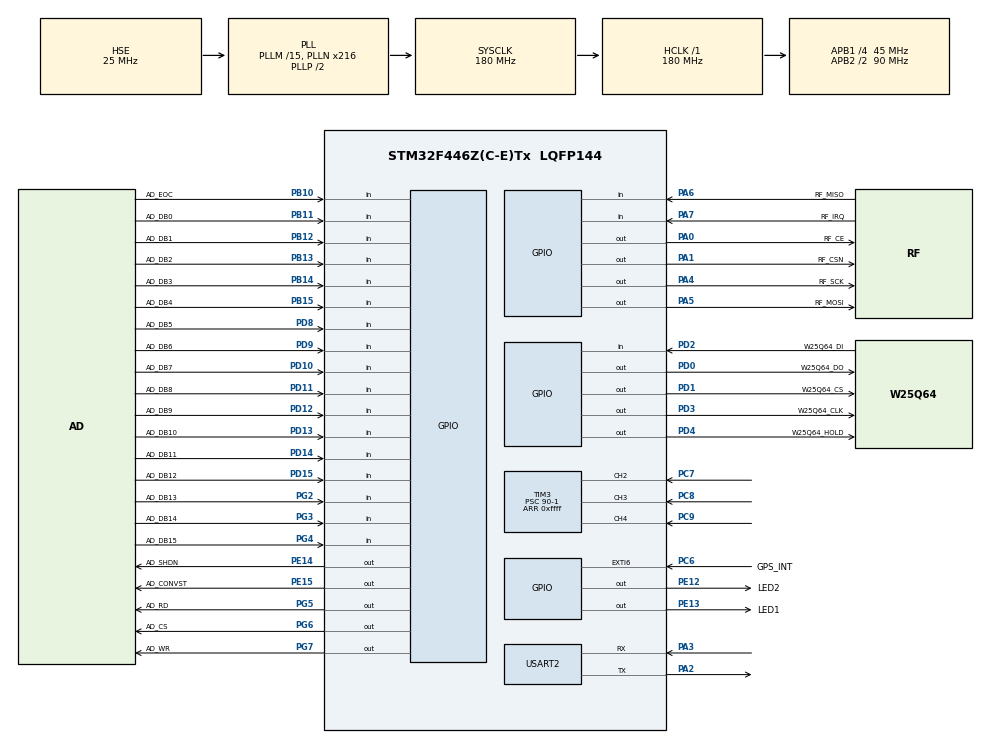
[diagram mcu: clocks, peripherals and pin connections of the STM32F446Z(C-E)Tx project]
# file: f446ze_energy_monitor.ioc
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FREERTOS.Tasks01=defaultTask,0,128,StartDefaultTask,Default,NULL
Mcu.Family=STM32F4
Mcu.Name=STM32F446Z(C-E)Tx
Mcu.Package=LQFP144
NVIC.PriorityGroup=NVIC_PRIORITYGROUP_4
NVIC.TIM3_IRQn=true\:5\:0\:false\:false\:true\:true\:true
NVIC.TIM4_IRQn=true\:6\:0\:true\:false\:true\:true\:true
NVIC.TIM8_TRG_COM_TIM14_IRQn=true\:0\:0\:false\:false\:true\:false\:false
NVIC.TimeBase=TIM8_TRG_COM_TIM14_IRQn
NVIC.TimeBaseIP=TIM14
PA0-WKUP.GPIO_Label=RF_CE
PA0-WKUP.Signal=GPIO_Output
PA1.GPIO_Label=RF_CSN
PA1.Signal=GPIO_Output
PA13.Mode=Serial_Wire
PA13.Signal=SYS_JTMS-SWDIO
PA14.Mode=Serial_Wire
PA14.Signal=SYS_JTCK-SWCLK
PA2.Mode=Asynchronous
PA2.Signal=USART2_TX
PA3.Mode=Asynchronous
PA3.Signal=USART2_RX
PA4.GPIO_Label=RF_SCK
PA4.Signal=GPIO_Output
PA5.GPIO_Label=RF_MOSI
PA5.Signal=GPIO_Output
PA6.GPIO_Label=RF_MISO
PA6.Signal=GPIO_Input
PA7.GPIO_Label=RF_IRQ
PA7.Signal=GPIO_Input
PB10.GPIO_Label=AD_EOC
PB10.Signal=GPIO_Input
PB11.GPIO_Label=AD_DB0
PB11.Signal=GPIO_Input
PB12.GPIO_Label=AD_DB1
PB12.Signal=GPIO_Input
PB13.GPIO_Label=AD_DB2
PB13.Signal=GPIO_Input
PB14.GPIO_Label=AD_DB3
PB14.Signal=GPIO_Input
PB15.GPIO_Label=AD_DB4
PB15.Signal=GPIO_Input
PC6.GPIO_Label=GPS_INT
PC6.Signal=GPXTI6
PC7.Signal=S_TIM3_CH2
PC8.Signal=S_TIM3_CH3
PC9.Signal=S_TIM3_CH4
PD0.GPIO_Label=W25Q64_DO
PD0.Signal=GPIO_Output
PD1.GPIO_Label=W25Q64_CS
PD1.Signal=GPIO_Output
PD10.GPIO_Label=AD_DB7
PD10.Signal=GPIO_Input
PD11.GPIO_Label=AD_DB8
PD11.Signal=GPIO_Input
PD12.GPIO_Label=AD_DB9
PD12.Signal=GPIO_Input
PD13.GPIO_Label=AD_DB10
PD13.Signal=GPIO_Input
PD14.GPIO_Label=AD_DB11
PD14.Signal=GPIO_Input
PD15.GPIO_Label=AD_DB12
PD15.Signal=GPIO_Input
PD2.GPIO_Label=W25Q64_DI
PD2.Signal=GPIO_Input
PD3.GPIO_Label=W25Q64_CLK
PD3.Signal=GPIO_Output
PD4.GPIO_Label=W25Q64_HOLD
PD4.Signal=GPIO_Output
PD8.GPIO_Label=AD_DB5
PD8.Signal=GPIO_Input
PD9.GPIO_Label=AD_DB6
PD9.Signal=GPIO_Input
PE12.GPIO_Label=LED2
PE12.Signal=GPIO_Output
PE13.GPIO_Label=LED1
PE13.Signal=GPIO_Output
PE14.GPIO_Label=AD_SHDN
PE14.Signal=GPIO_Output
PE15.GPIO_Label=AD_CONVST
PE15.Signal=GPIO_Output
PG2.GPIO_Label=AD_DB13
PG2.Signal=GPIO_Input
PG3.GPIO_Label=AD_DB14
PG3.Signal=GPIO_Input
PG4.GPIO_Label=AD_DB15
PG4.Signal=GPIO_Input
PG5.GPIO_Label=AD_RD
PG5.Signal=GPIO_Output
PG6.GPIO_Label=AD_CS
PG6.Signal=GPIO_Output
PG7.GPIO_Label=AD_WR
PG7.Signal=GPIO_Output
PH0-OSC_IN.Mode=HSE-External-Oscillator
PH0-OSC_IN.Signal=RCC_OSC_IN
PH1-OSC_OUT.Mode=HSE-External-Oscillator
PH1-OSC_OUT.Signal=RCC_OSC_OUT
ProjectManager.HeapSize=0x200
ProjectManager.StackSize=0x400
ProjectManager.TargetToolchain=MDK-ARM V5
RCC.AHBFreq_Value=180000000
RCC.APB1CLKDivider=RCC_HCLK_DIV4
RCC.APB1Freq_Value=45000000
RCC.APB1TimFreq_Value=90000000
RCC.APB2CLKDivider=RCC_HCLK_DIV2
RCC.APB2Freq_Value=90000000
RCC.APB2TimFreq_Value=180000000
RCC.CortexFreq_Value=180000000
RCC.HCLKFreq_Value=180000000
RCC.PLLM=15
RCC.PLLN=216
RCC.PLLSourceVirtual=RCC_PLLSOURCE_HSE
RCC.SYSCLKFreq_VALUE=180000000
RCC.SYSCLKSource=RCC_SYSCLKSOURCE_PLLCLK
RCC.USBFreq_Value=180000000
RCC.VCOOutputFreq_Value=360000000
SH.S_TIM3_CH2.0=TIM3_CH2,Input_Capture2_from_TI2
SH.S_TIM3_CH3.0=TIM3_CH3,Input_Capture3_from_TI3
SH.S_TIM3_CH4.0=TIM3_CH4,Input_Capture4_from_TI4
TIM3.Channel-Input_Capture2_from_TI2=TIM_CHANNEL_2
TIM3.Channel-Input_Capture3_from_TI3=TIM_CHANNEL_3
TIM3.Channel-Input_Capture4_from_TI4=TIM_CHANNEL_4
TIM3.Period=0xffff
TIM3.Prescaler=90-1
TIM4.Period=14062-1
USART2.VirtualMode=VM_ASYNC
VP_FREERTOS_VS_ENABLE.Mode=Enabled
VP_SYS_VS_tim14.Mode=TIM14
VP_TIM3_VS_ClockSourceINT.Mode=Internal
VP_TIM4_VS_ClockSourceINT.Mode=Internal
board=custom

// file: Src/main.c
/**
  ******************************************************************************
  * @file           : main.c
  * @brief          : Main program body
  ******************************************************************************
  * This notice applies to any and all portions of this file
  * that are not between comment pairs USER CODE BEGIN and
  * USER CODE END. Other portions of this file, whether
  * inserted by the user or by software development tools
  * are owned by their respective copyright owners.
  *
  * Copyright (c) 2018 STMicroelectronics International N.V.
  * All rights reserved.
  *
  * Redistribution and use in source and binary forms, with or without
  * modification, are permitted, provided that the following conditions are met:
  *
  * 1. Redistribution of source code must retain the above copyright notice,
  *    this list of conditions and the following disclaimer.
  * 2. Redistributions in binary form must reproduce the above copyright notice,
  *    this list of conditions and the following disclaimer in the documentation
  *    and/or other materials provided with the distribution.
  * 3. Neither the name of STMicroelectronics nor the names of other
  *    contributors to this software may be used to endorse or promote products
  *    derived from this software without specific written permission.
  * 4. This software, including modifications and/or derivative works of this
  *    software, must execute solely and exclusively on microcontroller or
  *    microprocessor devices manufactured by or for STMicroelectronics.
  * 5. Redistribution and use of this software other than as permitted under
  *    this license is void and will automatically terminate your rights under
  *    this license.
  *
  * THIS SOFTWARE IS PROVIDED BY STMICROELECTRONICS AND CONTRIBUTORS "AS IS"
  * AND ANY EXPRESS, IMPLIED OR STATUTORY WARRANTIES, INCLUDING, BUT NOT
  * LIMITED TO, THE IMPLIED WARRANTIES OF MERCHANTABILITY, FITNESS FOR A
  * PARTICULAR PURPOSE AND NON-INFRINGEMENT OF THIRD PARTY INTELLECTUAL PROPERTY
  * RIGHTS ARE DISCLAIMED TO THE FULLEST EXTENT PERMITTED BY LAW. IN NO EVENT
  * SHALL STMICROELECTRONICS OR CONTRIBUTORS BE LIABLE FOR ANY DIRECT, INDIRECT,
  * INCIDENTAL, SPECIAL, EXEMPLARY, OR CONSEQUENTIAL DAMAGES (INCLUDING, BUT NOT
  * LIMITED TO, PROCUREMENT OF SUBSTITUTE GOODS OR SERVICES; LOSS OF USE, DATA,
  * OR PROFITS; OR BUSINESS INTERRUPTION) HOWEVER CAUSED AND ON ANY THEORY OF
  * LIABILITY, WHETHER IN CONTRACT, STRICT LIABILITY, OR TORT (INCLUDING
  * NEGLIGENCE OR OTHERWISE) ARISING IN ANY WAY OUT OF THE USE OF THIS SOFTWARE,
  * EVEN IF ADVISED OF THE POSSIBILITY OF SUCH DAMAGE.
  *
  ******************************************************************************
  */
#include "main.h"
#include "stm32f4xx_hal.h"
#include "cmsis_os.h"
#include "tim.h"
#include "usart.h"
#include "gpio.h"

/* USER CODE BEGIN Includes */
#include "freq_cap.h"
#include "power_quality.h"
#include "max11046.h"
#include "util.h"
#include "flash_internal.h"
/* USER CODE END Includes */

/* USER CODE BEGIN PV */
/* Private variables ---------------------------------------------------------*/

// #define __SORT_TEST__
#ifdef __SORT_TEST__
  #include "alg_findextrema.h"
  #include "alg_sort.h"
  float test_arr[512] = {0.1, 0.2, 0.3, 0.74, 0.53, 0.12, 0.7, 0.8};
  float test_arr_max_min[2] = {0};
#endif
#ifdef __UTIL_TEST__  /* util.c test */
  volatile uint16_t tmp_ = 0x1234;
  volatile uint32_t tmp_32 = 0x12345678;
  volatile uint64_t tmp_64 = 0x123456789abcdeff;
  volatile void* ptmp_ = NULL;
  volatile uint32_t* ptmp_32 = NULL;
  volatile uint64_t* ptmp_64 = NULL;
  volatile uint16_t* ptmp_16 = NULL;
#endif  /* util.c test */
// #define __FLASH_TEST__
#ifdef __FLASH_TEST__  /* flash_internal.c test */
  volatile uint16_t err_flg = 0x00;
  extern uint16_t ad_wav[2][3][1280]; // 1 second, 75KB
#endif  /* flash_internal.c test */
// #define __TEST_FLICKER__
#ifdef __TEST_FLICKER__
  extern uint8_t AD_save_flag;
  extern uint16_t AD_Data_A_0[128];  //C
  extern uint16_t AD_Data_A_1[128];  //C
  extern uint16_t AD_Data_B_0[128];  //B
  extern uint16_t AD_Data_B_1[128];  //B
  extern uint16_t AD_Data_C_0[128];  //A
  extern uint16_t AD_Data_C_1[128];  //A
#endif
/* USER CODE END PV */

void SystemClock_Config(void);
void MX_FREERTOS_Init(void);

/* USER CODE BEGIN PFP */
/* Private function prototypes -----------------------------------------------*/

/* USER CODE END PFP */

int main(void)
{

  /* MCU Configuration----------------------------------------------------------*/

  /* Reset of all peripherals, Initializes the Flash interface and the Systick. */
  HAL_Init();

  /* Configure the system clock */
  SystemClock_Config();

  /* Initialize all configured peripherals */
  MX_GPIO_Init();
  MX_TIM3_Init();
  MX_USART2_UART_Init();
  MX_TIM4_Init();
  /* USER CODE BEGIN 2 */
  AD_IO_INIT();
  Configuration_AD_register();
  HAL_Delay(10);
  // start capture
  HAL_TIM_Base_Start_IT(&htim3);
  HAL_TIM_Base_Start_IT(&htim4);
  HAL_TIM_IC_Start_IT(&htim3, TIM_CHANNEL_4);
  HAL_TIM_IC_Start_IT(&htim3, TIM_CHANNEL_3);
  HAL_TIM_IC_Start_IT(&htim3, TIM_CHANNEL_2);
  #ifdef __SORT_TEST__
    bubble_sort_f32(test_arr, 512);
    __nop();
    findmax_min_f32(test_arr, 512, test_arr_max_min);
    __nop();
  #endif
  #ifdef __FLASH_TEST__ /* flash_internal.c test */
    flash_erase(7); /* erase sector 7 */
    ad_wav[0][0][0] = 0x01;
    ad_wav[0][1][0] = 0x01;
    ad_wav[0][2][0] = 0x01;
    err_flg = flash_write((uint16_t*)ad_wav[0], 7, 19200);
  #endif /* flash_internal.c test */

  /* USER CODE END 2 */

  /* Call init function for freertos objects (in freertos.c) */
  MX_FREERTOS_Init();

  /* Start scheduler */
  osKernelStart();

  /* We should never get here as control is now taken by the scheduler */

  /* Infinite loop */
  while (1)
  {

  /* USER CODE BEGIN 3 */

    #ifdef __UTIL_TEST__ /* util.c test */
      ptmp_ = endian_exchange(tmp_, 2);
      tmp_ = *(uint16_t*)ptmp_;
      ptmp_32 = endian_exchange(tmp_32, 4);
      tmp_32 = *(uint32_t*)ptmp_32;
      ptmp_64 = endian_exchange(tmp_64, 8);
      tmp_64 = *(uint64_t*)ptmp_64;
    __nop();
    #endif /* util.c test */
    #ifdef __TEST_FLICKER__
      if (0x01 == AD_save_flag)
      Voltage_RMS_Calc(AD_Data_A_0, AD_Data_B_0, AD_Data_C_0);
      if (0x00 == AD_save_flag)
          Voltage_RMS_Calc(AD_Data_A_1, AD_Data_B_1, AD_Data_C_1);
      data_process();
      // osDelay(20);
    #endif
  }
  /* USER CODE END 3 */

}

void SystemClock_Config(void)
{

  RCC_OscInitTypeDef RCC_OscInitStruct;
  RCC_ClkInitTypeDef RCC_ClkInitStruct;

    /**Configure the main internal regulator output voltage
    */
  __HAL_RCC_PWR_CLK_ENABLE();

  __HAL_PWR_VOLTAGESCALING_CONFIG(PWR_REGULATOR_VOLTAGE_SCALE1);

    /**Initializes the CPU, AHB and APB busses clocks
    */
  RCC_OscInitStruct.OscillatorType = RCC_OSCILLATORTYPE_HSE;
  RCC_OscInitStruct.HSEState = RCC_HSE_ON;
  RCC_OscInitStruct.PLL.PLLState = RCC_PLL_ON;
  RCC_OscInitStruct.PLL.PLLSource = RCC_PLLSOURCE_HSE;
  RCC_OscInitStruct.PLL.PLLM = 15;
  RCC_OscInitStruct.PLL.PLLN = 216;
  RCC_OscInitStruct.PLL.PLLP = RCC_PLLP_DIV2;
  RCC_OscInitStruct.PLL.PLLQ = 2;
  RCC_OscInitStruct.PLL.PLLR = 2;
  if (HAL_RCC_OscConfig(&RCC_OscInitStruct) != HAL_OK)
  {
    _Error_Handler(__FILE__, __LINE__);
  }

    /**Activate the Over-Drive mode
    */
  if (HAL_PWREx_EnableOverDrive() != HAL_OK)
  {
    _Error_Handler(__FILE__, __LINE__);
  }

    /**Initializes the CPU, AHB and APB busses clocks
    */
  RCC_ClkInitStruct.ClockType = RCC_CLOCKTYPE_HCLK|RCC_CLOCKTYPE_SYSCLK
                              |RCC_CLOCKTYPE_PCLK1|RCC_CLOCKTYPE_PCLK2;
  RCC_ClkInitStruct.SYSCLKSource = RCC_SYSCLKSOURCE_PLLCLK;
  RCC_ClkInitStruct.AHBCLKDivider = RCC_SYSCLK_DIV1;
  RCC_ClkInitStruct.APB1CLKDivider = RCC_HCLK_DIV4;
  RCC_ClkInitStruct.APB2CLKDivider = RCC_HCLK_DIV2;

  if (HAL_RCC_ClockConfig(&RCC_ClkInitStruct, FLASH_LATENCY_5) != HAL_OK)
  {
    _Error_Handler(__FILE__, __LINE__);
  }

    /**Configure the Systick interrupt time
    */
  HAL_SYSTICK_Config(HAL_RCC_GetHCLKFreq()/1000);

    /**Configure the Systick
    */
  HAL_SYSTICK_CLKSourceConfig(SYSTICK_CLKSOURCE_HCLK);

  /* SysTick_IRQn interrupt configuration */
  HAL_NVIC_SetPriority(SysTick_IRQn, 15, 0);
}

/* USER CODE BEGIN 4 */
/*
  PC9 --> channel4 --> A
  PC8 --> channel3 --> B
  PC7 --> channel2 --> C
*/
void HAL_TIM_IC_CaptureCallback(TIM_HandleTypeDef *htim)
{
  if(htim->Channel == HAL_TIM_ACTIVE_CHANNEL_4)
  {
    if(pfreq->freq_bgn_flg[0] == 0)
    {
      pfreq->cap_last[0] = HAL_TIM_ReadCapturedValue(&htim3, TIM_CHANNEL_4);
      pfreq->freq_bgn_flg[0] = 1;
      if(pfreq->phase_bgn_flg[0] == 0)
      {
        pfreq->phase[0] = pfreq->cap_last[0];
        pfreq->phase_bgn_flg[0] = 1;
      }
    }
    else
    {
      pfreq->cap_cur[0] = HAL_TIM_ReadCapturedValue(&htim3, TIM_CHANNEL_4);

      pfreq->freq[0] =  TIM_FREQ / (/*TIM_PERIOD * pfreq->period[0] + */(pfreq->cap_last[0] >= pfreq->cap_cur[0] ?
      TIM_PERIOD - (pfreq->cap_last[0] - pfreq->cap_cur[0]) :
      pfreq->cap_cur[0] - pfreq->cap_last[0]));
      #if 0
      if(pfreq->freq[0] - (float)40.0 < (float)1.0)
      {
        __nop();
      }
      #endif
      pfreq->freq_bgn_flg[0] = 0;
      pfreq->cap_last[0] = pfreq->cap_cur[0];
      pfreq->freq_ready[0] = 1;
    }
  }
  else if(htim->Channel == HAL_TIM_ACTIVE_CHANNEL_3)
  {
    if(pfreq->freq_bgn_flg[1] == 0)
    {
      pfreq->cap_last[1] = HAL_TIM_ReadCapturedValue(&htim3, TIM_CHANNEL_3);
      pfreq->freq_bgn_flg[1] = 1;
      if(pfreq->phase_bgn_flg[1] == 0)
      {
        pfreq->phase[1] = pfreq->cap_last[1];
        pfreq->phase_bgn_flg[1] = 1;
      }
    }
    else
    {
      pfreq->cap_cur[1] = HAL_TIM_ReadCapturedValue(&htim3, TIM_CHANNEL_3);

      pfreq->freq[1] = TIM_FREQ / (/*TIM_PERIOD * pfreq->period[1] + */(pfreq->cap_last[1] >= pfreq->cap_cur[1] ?
      TIM_PERIOD - (pfreq->cap_last[1] - pfreq->cap_cur[1]) :
      pfreq->cap_cur[1] - pfreq->cap_last[1]));

      pfreq->freq_bgn_flg[1] = 0;
      pfreq->cap_last[1] = pfreq->cap_cur[1];
      pfreq->freq_ready[1] = 1;
    }
  }
  else if(htim->Channel == HAL_TIM_ACTIVE_CHANNEL_2)
  {
    if(pfreq->freq_bgn_flg[2] == 0)
    {
      pfreq->cap_last[2] = HAL_TIM_ReadCapturedValue(&htim3, TIM_CHANNEL_2);
      pfreq->freq_bgn_flg[2] = 1;
      if(pfreq->phase_bgn_flg[0] == 1 && pfreq->phase_bgn_flg[1] == 1)
      {
        pfreq->phase[2] = pfreq->cap_last[2];
        #if 1
          /*
            假设测量的时候接线顺序和时间随机，很有可能造成问题，导致测量不准确（定时器多出几个周期什么的）
            对周期取模去除周期
          */
          pfreq->phase_us[0] = (pfreq->phase[1] >= pfreq->phase[0] ?
          (pfreq->phase[1] - pfreq->phase[0]) :
          ((pfreq->period[0] <= 1 ? 1 : pfreq->period[0]-1) * TIM_PERIOD) - pfreq->phase[0] + pfreq->phase[1]) % (uint32_t)(TIM_FREQ / pfreq->freq[0]);
          pfreq->phase_us[1] = (pfreq->phase[2] >= pfreq->phase[1] ?
          (pfreq->phase[2] - pfreq->phase[1]) :
          ((pfreq->period[1] <= 1 ? 1 : pfreq->period[1]-1) * TIM_PERIOD) - pfreq->phase[1] + pfreq->phase[2]) % (uint32_t)(TIM_FREQ / pfreq->freq[1]);
          pfreq->phase_us[2] = pfreq->phase_us[0] + pfreq->phase_us[1];
          #if 0
          if(pfreq->phase[0] < pfreq->phase[1]) pfreq->phase_us[0] = pfreq->phase[1] - pfreq->phase[0];
          else pfreq->phase_us[0] = TIM_PERIOD + pfreq->phase[1] - pfreq->phase[0];
          if(pfreq->phase[1] < pfreq->phase[2]) pfreq->phase_us[1] = pfreq->phase[2] - pfreq->phase[1];
          else pfreq->phase_us[0] = TIM_PERIOD + pfreq->phase[2] - pfreq->phase[1];
          pfreq->phase_us[2] = pfreq->phase_us[0] + pfreq->phase_us[1];
          #endif
          for(uint8_t i=0; i<3; i++)
          {
              pfreq->period[i] = 0;

              // pfreq->phase_ang[i] = ((uint32_t)((pfreq->phase_us[i] / (TIM_FREQ / pfreq->freq[i])) * 3600000) % 3600000) / 10000.0;
              pfreq->phase_ang[i] = (pfreq->phase_us[i] / (TIM_FREQ / pfreq->freq[i])) * 360.0;
          }
          pfreq->phase_ready = 1;
          for(uint8_t i=0; i<3; i++)
          {
            pfreq->phase_bgn_flg[i] = 0;
          }
        #endif
  //        for(uint8_t i=0; i<3; i++)
  //        {
  //          pfreq->phase_bgn_flg[i] = 2;
  //        }
      }
    }
    else
    {
      pfreq->cap_cur[2] = HAL_TIM_ReadCapturedValue(&htim3, TIM_CHANNEL_2);

      pfreq->freq[2] = TIM_FREQ / (/*TIM_PERIOD * pfreq->period[2] + */(pfreq->cap_last[2] >= pfreq->cap_cur[2] ?
      TIM_PERIOD - (pfreq->cap_last[2] - pfreq->cap_cur[2]) :
      pfreq->cap_cur[2] - pfreq->cap_last[2]));

      pfreq->freq_bgn_flg[2] = 0;
      pfreq->cap_last[2] = pfreq->cap_cur[2];
      pfreq->freq_ready[2] = 1;
    }
  }
  else;
}
/* USER CODE END 4 */

void HAL_TIM_PeriodElapsedCallback(TIM_HandleTypeDef *htim)
{
  /* USER CODE BEGIN Callback 0 */
  if(htim->Instance == TIM4)
  {
    getADdata();
  }
  /* USER CODE END Callback 0 */
  if (htim->Instance == TIM14) {
    HAL_IncTick();
  }
  /* USER CODE BEGIN Callback 1 */
  #if 1
  else if(htim->Instance == TIM3)
  {
    if(pfreq->phase_bgn_flg[0] == 1)
    {
      pfreq->period[0]++;
    }
    else if(pfreq->phase_bgn_flg[1]  == 1)
    {
      pfreq->period[1]++;
    }

    else if(pfreq->phase_bgn_flg[2] == 1)
    {
      pfreq->period[2]++;
    }
    #endif
    else;
  }
  else;
  /* USER CODE END Callback 1 */
}

void _Error_Handler(char *file, int line)
{
  while(1)
  {
  }
}

/************************ (C) COPYRIGHT STMicroelectronics *****END OF FILE****/

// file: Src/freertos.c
/**
  ******************************************************************************
  * File Name          : freertos.c
  * Description        : Code for freertos applications
  ******************************************************************************
  * This notice applies to any and all portions of this file
  * that are not between comment pairs USER CODE BEGIN and
  * USER CODE END. Other portions of this file, whether
  * inserted by the user or by software development tools
  * are owned by their respective copyright owners.
  *
  * Copyright (c) 2018 STMicroelectronics International N.V.
  * All rights reserved.
  *
  * Redistribution and use in source and binary forms, with or without
  * modification, are permitted, provided that the following conditions are met:
  *
  * 1. Redistribution of source code must retain the above copyright notice,
  *    this list of conditions and the following disclaimer.
  * 2. Redistributions in binary form must reproduce the above copyright notice,
  *    this list of conditions and the following disclaimer in the documentation
  *    and/or other materials provided with the distribution.
  * 3. Neither the name of STMicroelectronics nor the names of other
  *    contributors to this software may be used to endorse or promote products
  *    derived from this software without specific written permission.
  * 4. This software, including modifications and/or derivative works of this
  *    software, must execute solely and exclusively on microcontroller or
  *    microprocessor devices manufactured by or for STMicroelectronics.
  * 5. Redistribution and use of this software other than as permitted under
  *    this license is void and will automatically terminate your rights under
  *    this license.
  *
  * THIS SOFTWARE IS PROVIDED BY STMICROELECTRONICS AND CONTRIBUTORS "AS IS"
  * AND ANY EXPRESS, IMPLIED OR STATUTORY WARRANTIES, INCLUDING, BUT NOT
  * LIMITED TO, THE IMPLIED WARRANTIES OF MERCHANTABILITY, FITNESS FOR A
  * PARTICULAR PURPOSE AND NON-INFRINGEMENT OF THIRD PARTY INTELLECTUAL PROPERTY
  * RIGHTS ARE DISCLAIMED TO THE FULLEST EXTENT PERMITTED BY LAW. IN NO EVENT
  * SHALL STMICROELECTRONICS OR CONTRIBUTORS BE LIABLE FOR ANY DIRECT, INDIRECT,
  * INCIDENTAL, SPECIAL, EXEMPLARY, OR CONSEQUENTIAL DAMAGES (INCLUDING, BUT NOT
  * LIMITED TO, PROCUREMENT OF SUBSTITUTE GOODS OR SERVICES; LOSS OF USE, DATA,
  * OR PROFITS; OR BUSINESS INTERRUPTION) HOWEVER CAUSED AND ON ANY THEORY OF
  * LIABILITY, WHETHER IN CONTRACT, STRICT LIABILITY, OR TORT (INCLUDING
  * NEGLIGENCE OR OTHERWISE) ARISING IN ANY WAY OUT OF THE USE OF THIS SOFTWARE,
  * EVEN IF ADVISED OF THE POSSIBILITY OF SUCH DAMAGE.
  *
  ******************************************************************************
  */

#include "FreeRTOS.h"
#include "task.h"
#include "cmsis_os.h"

/* USER CODE BEGIN Includes */
#include "main.h"
#include "stm32f4xx_hal.h"
#include "freq_cap.h"
#include "tim.h"
#include "power_quality.h"
#include "nrf24l01_reg.h"
#include "nrf24l01.h"
#include "delay.h"
// #include "w25q64.h"
#include "protocol.h"
#include "flash_internal.h"
/* USER CODE END Includes */

osThreadId defaultTaskHandle;

/* USER CODE BEGIN Variables */
// #define dbg_w25q64
// #define dbg_nrf
extern uint8_t AD_save_flag;
extern uint16_t AD_Data_A_0[128];  //C
extern uint16_t AD_Data_A_1[128];  //C
extern uint16_t AD_Data_B_0[128];  //B
extern uint16_t AD_Data_B_1[128];  //B
extern uint16_t AD_Data_C_0[128];  //A
extern uint16_t AD_Data_C_1[128];  //A
osThreadId nrfTaskHandle;

union _dgb_flg
{
  uint8_t flg_total;
  struct _flg_t
  {
    uint8_t nrf_send : 1;
    uint8_t nrf_rev : 1;
    uint8_t nrf_err : 1;
    uint8_t flash_save : 1;
    uint8_t nrf_send1 : 1;
    uint8_t nrf_send2 : 1;
    uint8_t nrf_send3 : 1;
    uint8_t nrf_send4 : 1;
  }flg;

}dgb_flg;
extern uint8_t ad_wav_valid;
extern uint8_t ad_wav_flg;
extern uint16_t ad_wav[2][3][6400];
volatile uint32_t dbg_cnt = 0;
/* USER CODE END Variables */

void StartDefaultTask(void const * argument);

void MX_FREERTOS_Init(void); /* (MISRA C 2004 rule 8.1) */

/* USER CODE BEGIN FunctionPrototypes */
void StartNrfTask(void const * arg);

/* USER CODE END FunctionPrototypes */

/* Hook prototypes */

/* Init FreeRTOS */

void MX_FREERTOS_Init(void) {

  /* Create the thread(s) */
  /* definition and creation of defaultTask */
  osThreadDef(defaultTask, StartDefaultTask, osPriorityNormal, 0, 512);
  defaultTaskHandle = osThreadCreate(osThread(defaultTask), NULL);

  /* USER CODE BEGIN RTOS_THREADS */
  /* add threads, ... */
  osThreadDef(nrfTask, StartNrfTask, osPriorityNormal, 0, 512);
  nrfTaskHandle = osThreadCreate(osThread(nrfTask), NULL);
  /* USER CODE END RTOS_THREADS */

}

/* StartDefaultTask function */
void StartDefaultTask(void const * argument)
{
  /* USER CODE BEGIN StartDefaultTask */
//  taskENTER_CRITICAL();

//  taskEXIT_CRITICAL();
  /* Infinite loop */
  for(;;)
  {
    if (0x01 == AD_save_flag)
        Voltage_RMS_Calc(AD_Data_A_0, AD_Data_B_0, AD_Data_C_0);
    if (0x00 == AD_save_flag)
        Voltage_RMS_Calc(AD_Data_A_1, AD_Data_B_1, AD_Data_C_1);
    dbg_cnt++;
    Voltage_Deviation_Calc();
    osDelay(10);
  }
  /* USER CODE END StartDefaultTask */
}

/* USER CODE BEGIN Application */

void StartNrfTask(void const * arg)
{
  // initialization of nrf24
//  while(!NRF_Check(0))
//  {
//    dgb_flg.flg.nrf_err = 1;
//  }
//  dgb_flg.flg.nrf_err = 0;

  //thread loop
  for(;;)
  {
    // // do something
    // if(dgb_flg.flg.nrf_send)
    // {
    //   dgb_flg.flg.nrf_send = 0;
    //   nrf_send_shortframe_1();
    // }
    // nRF24L01_Revceive(0);
    // if(ad_wav_valid && dgb_flg.flg.flash_save)
    // {
    //   flash_erase(7);
    //   flash_write((uint16_t*)ad_wav[!ad_wav_flg], 7, 3*1280);
    // }
    data_process();
    osDelay(150);
  }
}
/* USER CODE END Application */

/************************ (C) COPYRIGHT STMicroelectronics *****END OF FILE****/
